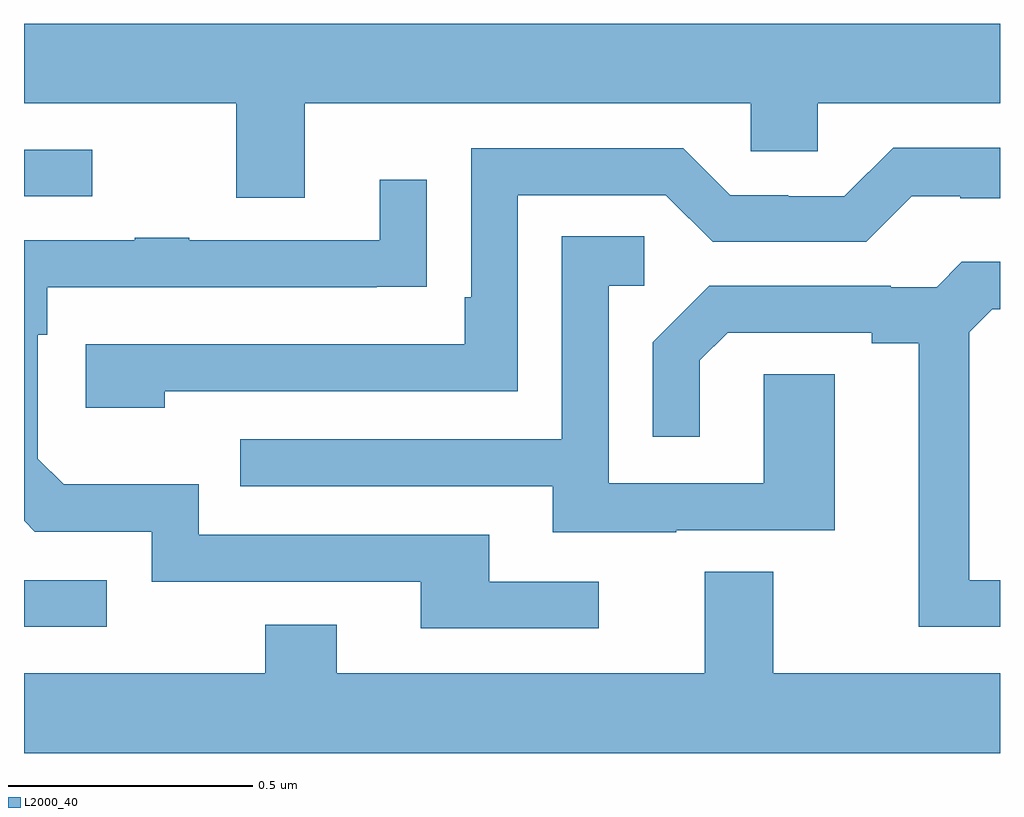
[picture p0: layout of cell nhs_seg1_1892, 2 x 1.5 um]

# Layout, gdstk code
import gdstk
lib = gdstk.Library(unit=1e-6, precision=1e-09)
def R(c, l, rs):  # rectangles x0, y0, x1, y1
    for r in rs: c.add(gdstk.rectangle(r[:2], r[2:], *l))
def P(c, l, *ps):  # polygons
    for p in ps: c.add(gdstk.Polygon(p, *l))
L2000_40 = (2000, 40)

nhs_seg1_1892 = lib.new_cell('nhs_seg1_1892')
R(nhs_seg1_1892, L2000_40, [(134,579.963,134.17,580.059), (134,580.845,134.14,580.941)])
P(nhs_seg1_1892, L2000_40, [(134.575,581.036),(135.489,581.036),(135.489,580.938),(135.627,580.938),(135.627,581.036),(136,581.036),(136,581.199),(134,581.199),(134,581.036),(134.435,581.036),(134.435,580.842),(134.575,580.842)],
  [(134.288,580.446),(135.012,580.446),(135.012,580.848),(135.315,580.848),(135.411,580.752),(135.726,580.752),(135.819,580.845),(135.919,580.845),(135.919,580.841),(136,580.841),(136,580.945),(135.781,580.945),(135.681,580.845),(135.566,580.845),(135.566,580.848),(135.447,580.848),(135.351,580.944),(134.916,580.944),(134.916,580.639),(134.903,580.639),(134.903,580.542),(134.127,580.542),(134.127,580.412),(134.288,580.412)],
  [(135.178,580.056),(134.953,580.056),(134.953,580.152),(134.358,580.152),(134.358,580.255),(134.081,580.255),(134.028,580.308),(134.028,580.562),(134.048,580.562),(134.048,580.659),(134.723,580.659),(134.723,580.66),(134.825,580.66),(134.825,580.879),(134.729,580.879),(134.729,580.755),(134.339,580.755),(134.339,580.76),(134.227,580.76),(134.227,580.755),(134,580.755),(134,580.18),(134.022,580.158),(134.262,580.158),(134.262,580.056),(134.813,580.056),(134.813,579.96),(135.178,579.96)],
  [(135.337,580.161),(135.661,580.161),(135.661,580.481),(135.516,580.481),(135.516,580.257),(135.198,580.257),(135.198,580.662),(135.271,580.662),(135.271,580.763),(135.102,580.763),(135.102,580.347),(134.443,580.347),(134.443,580.251),(135.083,580.251),(135.083,580.157),(135.337,580.157)],
  [(136,580.059),(135.937,580.059),(135.937,580.567),(135.984,580.614),(136,580.614),(136,580.711),(135.922,580.711),(135.87,580.659),(135.776,580.659),(135.776,580.662),(135.404,580.662),(135.288,580.546),(135.288,580.353),(135.385,580.353),(135.385,580.509),(135.442,580.566),(135.737,580.566),(135.737,580.544),(135.833,580.544),(135.833,579.963),(136,579.963)],
  [(136,579.868),(135.535,579.868),(135.535,580.076),(135.395,580.076),(135.395,579.868),(134.641,579.868),(134.641,579.967),(134.494,579.967),(134.494,579.868),(134,579.868),(134,579.704),(136,579.704)])

lib.write_gds('nhs_seg1_1892.gds')
